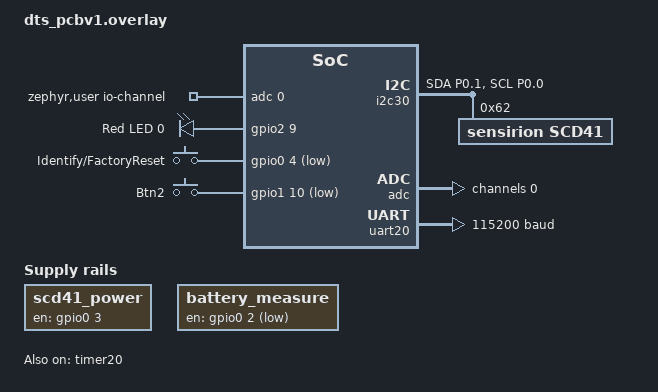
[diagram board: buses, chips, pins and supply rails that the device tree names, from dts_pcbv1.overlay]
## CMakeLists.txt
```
# SPDX-License-Identifier: Apache-2.0

cmake_minimum_required(VERSION 3.20.0)

# set(EXTRA_DTC_OVERLAY_FILE "dts.overlay")
set(EXTRA_DTC_OVERLAY_FILE "dts_pcbv1.overlay")
find_package(Zephyr REQUIRED HINTS $ENV{ZEPHYR_BASE})
project(co2_nrf54l15_2aa)

target_sources(app PRIVATE 
        src/main.cpp
        src/led.cpp
        submodules/esp_generic_lib/src/lib_linked_list.cpp
)

add_subdirectory(submodules/nrf_zb_cpp)
add_subdirectory(submodules/nrf_general)

target_link_libraries(app PUBLIC NrfLibGeneral)
target_link_libraries(app PUBLIC NrfZBCpp)

target_include_directories(app PRIVATE include)
target_include_directories(app PRIVATE submodules/esp_generic_lib/include)

if (${ZEPHYR_TOOLCHAIN_VARIANT} STREQUAL  "llvm")
        target_compile_options(app PRIVATE -fmacro-backtrace-limit=0)
        target_compile_options(app PUBLIC -D__cpp_concepts=202002L -Wno-builtin-macro-redefined -Wno-invalid-offsetof)
endif()
```

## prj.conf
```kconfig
CONFIG_HEAP_MEM_POOL_SIZE=2048
CONFIG_SYSTEM_WORKQUEUE_STACK_SIZE=2048
CONFIG_MAIN_THREAD_PRIORITY=7
CONFIG_DEBUG_THREAD_INFO=y

CONFIG_GPIO=y
CONFIG_ADC=y
CONFIG_REGULATOR=y

CONFIG_REBOOT=y
CONFIG_RAM_POWER_DOWN_LIBRARY=y
CONFIG_PM_DEVICE=y
CONFIG_SETTINGS=y
CONFIG_SETTINGS_NVS=y
CONFIG_NVS=y

# CONFIG_FLASH=y
# CONFIG_FLASH_MAP=y
# CONFIG_MPU_ALLOW_FLASH_WRITE=y

# CONFIG_REGULATOR=y

CONFIG_SENSOR=y
CONFIG_SENSOR_ASYNC_API=y
CONFIG_SCD4X=y
```

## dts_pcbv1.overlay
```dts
/ {
	chosen {
		ncs,zigbee-timer = &timer20;
		/* zephyr,console = &uart20; */
	};

	zephyr,user {
		io-channels = <&adc 0>;
	};

	leds {
		compatible = "gpio-leds";
		led0: led_0 {
			gpios = <&gpio2 9 GPIO_ACTIVE_HIGH>;
			label = "Red LED 0";
		};
	};

	buttons {
		compatible = "gpio-keys";
		button0: button_0 {
			gpios = <&gpio0 4 (GPIO_PULL_UP | GPIO_ACTIVE_LOW)>;
			label = "Identify/FactoryReset";
			zephyr,code = <INPUT_KEY_0>;
		};
		button1: button_1 {
			gpios = <&gpio1 10 (GPIO_PULL_UP | GPIO_ACTIVE_LOW)>;
			label = "Btn2";
			zephyr,code = <INPUT_KEY_1>;
		};
	};

	aliases {
		led0 = &led0;
	};

	/* Define the GPIO-controlled regulator */
	scd41_power: scd41-power-regulator {
		compatible = "regulator-fixed"; // Standard binding for fixed regulators
		regulator-name = "scd41_power_reg";
		status = "okay";

		/* GPIO controlling the MOSFET gate */
		/* GPIO_ACTIVE_HIGH means the sensor is ON when GPIO is high */
		/* Use GPIO_ACTIVE_LOW if your MOSFET logic is inverted */
		enable-gpios = <&gpio0 3 GPIO_ACTIVE_HIGH>;

		/* Optional: Define the voltage being regulated */
		// regulator-min-microvolt = ; // e.g., 3.3V
		// regulator-max-microvolt = ; // e.g., 3.3V

		/* Optional: Delay after enabling GPIO before regulator is considered stable */
		startup-delay-us = <1100000>; // 1us, adjust based on MOSFET and sensor VCC rise time

		/* Optional: Specify that this regulator should be off initially */
		//regulator-boot-on; // Remove or comment out if you want it initially OFF
	};

	/* Define the GPIO-controlled regulator */
	battery_measure: battery-measure-regulator {
		compatible = "regulator-fixed"; // Standard binding for fixed regulators
		regulator-name = "battery_measure_reg";
		status = "okay";

		/* GPIO controlling the MOSFET gate */
		/* GPIO_ACTIVE_HIGH means the sensor is ON when GPIO is high */
		/* Use GPIO_ACTIVE_LOW if your MOSFET logic is inverted */
		enable-gpios = <&gpio0 2 GPIO_ACTIVE_LOW>;

		/* Optional: Define the voltage being regulated */
		// regulator-min-microvolt = ; // e.g., 3.3V
		// regulator-max-microvolt = ; // e.g., 3.3V

		/* Optional: Delay after enabling GPIO before regulator is considered stable */
		startup-delay-us = <1>; // 1us, adjust based on MOSFET and sensor VCC rise time

		/* Optional: Specify that this regulator should be off initially */
		// regulator-boot-on; // Remove or comment out if you want it initially OFF
	};
};

// restore full RRAM and SRAM space - by default some parts are dedicated to FLRP
//&cpuapp_rram {
//	reg = <0x0 DT_SIZE_K(1524)>;
//};
//
//&cpuapp_sram {
//	reg = <0x20000000 DT_SIZE_K(256)>;
//	ranges = <0x0 0x20000000  0x40000>;
//};

&pinctrl {
	i2c30_default_alt: i2c30_default_alt {
		group1 {
			psels = <NRF_PSEL(TWIM_SDA, 0, 1)>,
				<NRF_PSEL(TWIM_SCL, 0, 0)>;
		};
	};
	i2c30_sleep_alt: i2c30_sleep_alt {
		group1 {
			psels = <NRF_PSEL(TWIM_SDA, 0, 1)>,
				<NRF_PSEL(TWIM_SCL, 0, 0)>;
				low-power-enable;
		};
	};
/omit-if-no-ref/ uart20_default: uart20_default {
	//forgot extra UART pin to route. re-suing btn2 for this
	group1 {
		psels = <NRF_PSEL(UART_TX, 1, 10)>;
	};
};

/omit-if-no-ref/ uart20_sleep: uart20_sleep {
	group1 {
		psels = <NRF_PSEL(UART_TX, 1, 10)>;
		low-power-enable;
	};
};
};


&i2c30 {
	status = "okay";
	pinctrl-0 = <&i2c30_default_alt>;
	pinctrl-1 = <&i2c30_sleep_alt>;
	pinctrl-names = "default", "sleep";

	co2sensor: scd41@62{
		compatible="sensirion,scd41";
		reg = <0x62>;
		label = "SCD41";
		/* mode 2 = single shot */
		/* mode 1 = low power */
		/* mode 0 = normal */
		mode = < 2 >;
		status = "okay";
		zephyr,deferred-init;
	};
};

&adc {
	status = "okay";
	#address-cells = <1>;
	#size-cells = <0>;

	channel@0 {
		reg = <0>;
		zephyr,gain = "ADC_GAIN_1_4";
		zephyr,reference = "ADC_REF_INTERNAL";
		zephyr,acquisition-time = <ADC_ACQ_TIME_DEFAULT>;
		zephyr,input-positive = <NRF_SAADC_AIN3>; /* P1.07 */
		zephyr,resolution = <12>;
	};
};

&timer20 {
	status = "okay";
};

&uart20 {
	status = "okay";
	current-speed = <115200>;
};
&gpio2 {
	status = "okay";
};
```

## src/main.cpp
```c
/*
 * Copyright (c) 2023, Meta
 *
 * SPDX-License-Identifier: Apache-2.0
 */


#include <cmath>
#include <zephyr/kernel.h>
#include <zephyr/drivers/gpio.h>
#include <zephyr/drivers/uart.h>
#include <zephyr/drivers/sensor.h>
#include <zephyr/settings/settings.h>
#include <zephyr/drivers/adc.h>
#include <zephyr/drivers/regulator.h>
#include <zephyr/drivers/sensor/scd4x.h>

#include <ram_pwrdn.h>

//#define ALARM_LIST_LOCK_TYPE thread::DummyLock
#include <nrfzbcpp/zb_main.hpp>
#include <nrfzbcpp/zb_std_cluster_desc.hpp>

#include <nrfzbcpp/zb_power_config_tools.hpp>
#include <nrfzbcpp/zb_poll_ctrl_tools.hpp>

#include <nrfzbcpp/zb_status_cluster_desc.hpp>
#include <nrfzbcpp/zb_co2_cluster_desc.hpp>
#include <nrfzbcpp/zb_temp_cluster_desc.hpp>
#include <nrfzbcpp/zb_humid_cluster_desc.hpp>

#include <nrfzbcpp/zb_alarm.hpp>
#include <nrfzbcpp/zb_settings.hpp>

#include "zb/zb_scd4x_cluster_desc.hpp"

#include <nrf_general/lib_msgq_typed.hpp>

#include <dk_buttons_and_leds.h>
#include "led.h"

//allows using _min_to_qs and similar stuff
using namespace zb::literals;

/**********************************************************************/
/* Configuration constants                                            */
/**********************************************************************/
constexpr bool kPowerSaving = true;//if this is change the MCU must be erased since that option persists otherwise
constexpr uint32_t kFactoryResetWaitMS = 5000;//5s if the dev doesn't join before that
constexpr int8_t kRestartCountToFactoryReset = 3;
constexpr uint32_t kRestartCounterResetTimeoutMS = 15000;//after 15s the restart counter is reset back to 3
constexpr uint32_t kKeepAliveTimeout = 1000*60*30;//30min
constexpr zb_time_t kWakeUpDurationMS = 8 * 1000;

constexpr auto kInitialCheckInInterval = 30_min_to_qs;
constexpr auto kInitialLongPollInterval = 60_min_to_qs;//this has to be big in order for the device not to perform permanent parent requests

/**********************************************************************/
/* Zigbee Declarations and Definitions                                */
/**********************************************************************/
static bool g_ZigbeeReady = false;

/* Manufacturer name (32 bytes). */
#define INIT_BASIC_MANUF_NAME      "SFINAE"

/* Model number assigned by manufacturer (32-bytes long string). */
#define INIT_BASIC_MODEL_ID        "CO2-NG"


/* Button used to enter the Bulb into the Identify mode. */
#define IDENTIFY_MODE_BUTTON            DK_BTN1_MSK

/* Button to start Factory Reset */
#define FACTORY_RESET_BUTTON IDENTIFY_MODE_BUTTON

#define WAKE_UP_BUTTON            DK_BTN2_MSK

/* Device endpoint, used to receive light controlling commands. */
constexpr uint8_t kCO2_EP = 1;
constexpr uint16_t kDEV_ID = 0xFEED;

/* Main application customizable context.
 * Stores all settings and static values.
 */
struct device_ctx_t{
    zb::zb_zcl_basic_names_t basic_attr;
    zb::zb_zcl_power_cfg_battery_info_t battery_attr;
    zb::zb_zcl_poll_ctrl_basic_t poll_ctrl;
    zb::zb_zcl_status_t status_attr;
    zb::zb_zcl_co2_basic_t co2_attr;
    zb::zb_zcl_temp_basic_t temp_attr;
    zb::zb_zcl_rel_humid_basic_t humid_attr;
    zb::zb_zcl_scd4x_t scd4x;
};

//attribute shortcuts for template arguments
constexpr auto kAttrStatus1 = &zb::zb_zcl_status_t::status1;
constexpr auto kAttrStatus2 = &zb::zb_zcl_status_t::status2;
constexpr auto kAttrStatus3 = &zb::zb_zcl_status_t::status3;
constexpr auto kAttrCO2Value = &zb::zb_zcl_co2_basic_t::measured_value;
constexpr auto kAttrTempValue = &zb::zb_zcl_temp_basic_t::measured_value;
constexpr auto kAttrRelHValue = &zb::zb_zcl_rel_humid_basic_t::measured_value;

constexpr auto kAttrManMeasure = &zb::zb_zcl_scd4x_t::manual_measurements;
constexpr auto kAttrFactoryResets = &zb::zb_zcl_scd4x_t::factory_resets;
constexpr auto kAttrSensorVariant = &zb::zb_zcl_scd4x_t::sensor_variant;

constexpr int kSleepSendStatusBit1 = 0;
constexpr int kSleepSendStatusCodeOffset = 1;
constexpr int kFlipSendStatusBit1 = 5;
constexpr int kFlipSendStatusCodeOffset = 6;
constexpr int kWakeUpSendStatusBit1 = 10;
constexpr int kWakeUpSendStatusCodeOffset = 11;

constexpr int kStatusCodeSize = 4;

zb::CmdHandlingResult on_scd4x_factory_reset();

/* Zigbee device application context storage. */
static constinit device_ctx_t dev_ctx{
    .basic_attr = {
	{
	    .zcl_version = ZB_ZCL_VERSION,
	    .power_source = zb::zb_zcl_basic_min_t::PowerSource::Battery
	},
	/*.manufacturer =*/ INIT_BASIC_MANUF_NAME,
	/*.model =*/ INIT_BASIC_MODEL_ID,
    },
	.poll_ctrl = {
	    .check_in_interval = kInitialCheckInInterval,
	    .long_poll_interval = kInitialLongPollInterval,
	    //.short_poll_interval = 1_sec_to_qs,
	},
    .co2_attr{
	.measured_value = 0
    },
    .scd4x{
	.cmd_on_factory_reset = {.cb = on_scd4x_factory_reset}
    }
};

constinit static auto zb_ctx = zb::make_device(
	zb::make_ep_args<{.ep=kCO2_EP, .dev_id=kDEV_ID, .dev_ver=1}>(
	    dev_ctx.basic_attr
	    , dev_ctx.battery_attr
	    , dev_ctx.poll_ctrl
	    , dev_ctx.status_attr
	    , dev_ctx.co2_attr
	    , dev_ctx.temp_attr
	    , dev_ctx.humid_attr
	    , dev_ctx.scd4x
	    )
	);

/**********************************************************************/
/* Defining access to the global zigbee device context                */
/**********************************************************************/
//needed for proper command handling
struct zb::global_device
{
    static auto& get() { return zb_ctx; }
};

//a shortcut for a convenient access
constinit static auto &zb_ep = zb_ctx.ep<kCO2_EP>();

/**********************************************************************/
/* ZephyrOS devices                                                   */
/**********************************************************************/

/* The devicetree node identifier for the "led0" alias. */
#define LED0_NODE DT_ALIAS(led0)
static const struct device *const co2sensor = DEVICE_DT_GET(DT_NODELABEL(co2sensor));
static const struct gpio_dt_spec led_dt = GPIO_DT_SPEC_GET(LED0_NODE, gpios);
constinit const struct device *co2_power = DEVICE_DT_GET(DT_NODELABEL(scd41_power));
constexpr const struct device *bat_measure = DEVICE_DT_GET(DT_NODELABEL(battery_measure));


/**********************************************************************/
/* Battery management                                                 */
/**********************************************************************/
#define DT_SPEC_AND_COMMA(node_id, prop, idx) \
	ADC_DT_SPEC_GET_BY_IDX(node_id, idx),

static const struct adc_dt_spec adc_channels[] = {
	DT_FOREACH_PROP_ELEM(DT_PATH(zephyr_user), io_channels,
			     DT_SPEC_AND_COMMA)
};

static constinit auto g_Battery = zb::make_battery_measurements_block<{
    .maxBatteryVoltage = 3600,//mV
    .minBatteryVoltage = 900//mV
}>(zb_ep, adc_channels, bat_measure);
constexpr zb_callback_t update_battery_state_zb = &decltype(g_Battery)::update_zb_callback;


/**********************************************************************/
/* End of battery management                                          */
/**********************************************************************/

/**********************************************************************/
/* Message Queue definitions + commands                               */
/**********************************************************************/
enum class CO2Commands
{
    Initial
    , Fetch
    , ManualFetch
    , FactoryReset
};

using CO2Q = msgq::Queue<CO2Commands,4>;
K_MSGQ_DEFINE_TYPED(CO2Q, co2v2);

/**********************************************************************/
/* CO2 measuring thread                                               */
/**********************************************************************/
void co2_thread_entry(void *, void *, void *);
void update_co2_readings_in_zigbee(uint8_t id);

constexpr size_t CO2_THREAD_STACK_SIZE = 512;
constexpr size_t CO2_THREAD_PRIORITY=7;

K_THREAD_DEFINE(co2_thread, CO2_THREAD_STACK_SIZE,
	co2_thread_entry, NULL, NULL, NULL,
	CO2_THREAD_PRIORITY, 0, -1);


bool update_measurements()
{
    bool needsPowerCycle = true;
    bool res = false;
    //if ((needsPowerCycle = !regulator_is_enabled(co2_power)))
    {
	regulator_enable(co2_power);
	device_init(co2sensor);
    }
    if (device_is_ready(co2sensor)) {
	if (!dev_ctx.scd4x.sensor_variant)
	    scd4x_get_variant(co2sensor, &dev_ctx.scd4x.sensor_variant, false);

	int err = sensor_sample_fetch(co2sensor);

	if (err == 0)
	{
	    if (needsPowerCycle) //after power up 2 fetches are needed
		sensor_sample_fetch(co2sensor);
	}

	res = true;
    }

    //if (zb::qs_to_s(dev_ctx.poll_ctrl.check_in_interval) >= kPowerCycleThresholdSeconds)//seconds
    {
	//check in interval is big enough to power down
	regulator_disable(co2_power);
    }
    return res;
}

static constinit bool g_CO2ErrorState = false;
void co2_thread_entry(void *, void *, void *)
{
    CO2Commands cmd;
    bool needsPowerCycle = false;
    static uint32_t g_last_mark = 0; 
    while(1)
    {
	co2v2 >> cmd;
	switch(cmd)
	{
	    using enum CO2Commands;
	    case FactoryReset:
	    {
		zb::RegRAII co2Reg(co2_power);
		device_init(co2sensor);
		if (device_is_ready(co2sensor)) {
		    scd4x_factory_reset(co2sensor);
		    led::show_pattern(led::kPATTERN_2_BLIPS_NORMED, 2000);
		}
	    }
	    break;
	    case Initial:
	    {
		g_CO2ErrorState = !update_measurements();
		zigbee_enable();
	    }
	    break;
	    case Fetch:
	    {
		auto now = k_uptime_seconds();
		if (g_last_mark && ((now - g_last_mark) < (zb::qs_to_s(dev_ctx.poll_ctrl.check_in_interval) / 2)))
		{
		    //to often
		    continue;
		}
		g_last_mark = now;
	    }
	    [[fallthrough]];
	    case ManualFetch:
	    g_CO2ErrorState = !update_measurements();
	    //post to zigbee thread
	    zigbee_schedule_callback(update_co2_readings_in_zigbee, 0);
	    break;
	}
    }
}

void update_co2_readings_in_zigbee(uint8_t id)
{
    g_Battery.update();
    if (co2sensor && !g_CO2ErrorState)
    {
	sensor_value v;
	sensor_channel_get(co2sensor, SENSOR_CHAN_CO2, &v);
	zb_ep.attr<kAttrCO2Value>() = float(v.val1) / 1'000'000.f;
	sensor_channel_get(co2sensor, SENSOR_CHAN_AMBIENT_TEMP, &v);
	zb_ep.attr<kAttrTempValue>() = zb::zb_zcl_temp_t::FromC(float(v.val1) + float(v.val2) / 1000'000.f);
	sensor_channel_get(co2sensor, SENSOR_CHAN_HUMIDITY, &v);
	zb_ep.attr<kAttrRelHValue>() = zb::zb_zcl_rel_humid_t::FromRelH(float(v.val1) + float(v.val2) / 1000'000.f);

	zb_ep.attr<kAttrStatus1>() = 0;
	zb_ep.attr<kAttrStatus2>() = 0;
    }else
    {
	if (g_CO2ErrorState) zb_ep.attr<kAttrStatus1>() = -1;
	if (!co2sensor) zb_ep.attr<kAttrStatus2>() = -1;
    }
}

zb::CmdHandlingResult on_scd4x_factory_reset()
{
    zb_ep.attr<kAttrFactoryResets>() = dev_ctx.scd4x.factory_resets + 1;
    co2v2 << CO2Commands::FactoryReset;
    co2v2 << CO2Commands::ManualFetch;
    return {};
}


/**********************************************************************/
/* General Zigbee stuff                                               */
/**********************************************************************/

void on_zigbee_start()
{
    printk("on_zigbee_start\r\n");
    g_ZigbeeReady = true;

    configure_poll_control<{
	.ep = kCO2_EP, 
	.callback_on_check_in = [](uint8_t){co2v2 << CO2Commands::Fetch;}, 
	.sleepy_end_device = kPowerSaving
    }>(dev_ctx.poll_ctrl);
    update_co2_readings_in_zigbee(0);
}

/**@brief Zigbee stack event handler.
 *
 * @param[in]   bufid   Reference to the Zigbee stack buffer
 *                      used to pass signal.
 */
void zboss_signal_handler(zb_bufid_t bufid)
{
        zb_zdo_app_signal_hdr_t *pHdr;
        auto signalId = zb_get_app_signal(bufid, &pHdr);

	auto ret = zb::tpl_signal_handler<zb::sig_handlers_t{
	.on_leave = +[]{ 
	    zb_zcl_poll_control_stop(); 
	    k_sleep(K_MSEC(2100));
	    sys_reboot(SYS_REBOOT_COLD);
	},
	    .on_error = []{ led::show_pattern(led::kPATTERN_3_BLIPS_NORMED, 1000); },
	    .on_dev_reboot = on_zigbee_start,
	    .on_steering = on_zigbee_start,
	    .on_can_sleep = &zb_sleep_now
	   }>(bufid);
    const uint32_t LOCAL_ERR_CODE = (uint32_t) (-ret);	
    if (LOCAL_ERR_CODE != RET_OK) {				
	zb_osif_abort();				
    }							
}

void on_dev_cb_error(int err)
{
    printk("on_dev_cb_error: %d\r\n", err);
}

/**********************************************************************/
/* Factory Reset Handling                                             */
/**********************************************************************/
zb::ZbTimerExt g_FactoryResetDoneChecker;
/**@brief Callback for button events.
 *
 * @param[in]   button_state  Bitmask containing the state of the buttons.
 * @param[in]   has_changed   Bitmask containing buttons that have changed their state.
 */
static void button_changed(uint32_t button_state, uint32_t has_changed)
{
    if (FACTORY_RESET_BUTTON & has_changed) {
	if (FACTORY_RESET_BUTTON & button_state) {
	    /* Button changed its state to pressed */
	    g_FactoryResetDoneChecker.Setup([]{
		    if (was_factory_reset_done()) {
			/* The long press was for Factory Reset */
			led::show_pattern(led::kPATTERN_2_BLIPS_NORMED, 2000);
			return false;
		    }
		    return true;
	    }, 1000);
	} else {
	    /* Button changed its state to released */
	    if (!was_factory_reset_done()) {
		/* Button released before Factory Reset */
		g_FactoryResetDoneChecker.Cancel();
		led::show_pattern(led::kPATTERN_2_BLIPS_NORMED, 500);
	    }
	}
	check_factory_reset_button(button_state, has_changed);
    }else if (WAKE_UP_BUTTON & has_changed)
    {
	if (!(WAKE_UP_BUTTON & button_state))
	{
	    //released
	    zb_zdo_pim_start_turbo_poll_continuous(kWakeUpDurationMS);
	    co2v2 << CO2Commands::ManualFetch;
	    led::show_pattern(led::kPATTERN_4_BLIPS_NORMED, 1000);
	    zb_ep.attr<kAttrManMeasure>() = dev_ctx.scd4x.manual_measurements + 1;
	}
    }
}

/**********************************************************************/
/* End Of Factory Reset Handling                                      */
/**********************************************************************/

int main(void)
{
    int ret;
    bool led_state = true;
    //k_msleep(5000);

    printk("Main start\r\n");
    //regulator_enable(co2_power);
    //printk("Co2 power enabled\r\n");
    //k_msleep(5000);
    //device_init(co2sensor);
	//   if (device_is_ready(co2sensor)) {
	//uint16_t var = -1;
	//ret = scd4x_get_variant(co2sensor, &var, false);
	//if (ret < 0)
	//{
	//    printk("get variant failed with %d\r\n", ret);
	//}else
	//{
	//    printk("get variant: %d\r\n", var);
	//}
	//printk("co2 sampling...\r\n");
	//sensor_sample_fetch(co2sensor);
	//sensor_value v;
	//sensor_channel_get(co2sensor, SENSOR_CHAN_CO2, &v);
	//printk("CO2: %d %d\r\n", v.val1, v.val2);
	//   }else
	//   {
	//printk("co2 init failed\r\n");
	//   }
	//   if (device_is_ready(eco2sensor)) {
	//sensor_sample_fetch(eco2sensor);
	//sensor_value v;
	//sensor_channel_get(eco2sensor, SENSOR_CHAN_CO2, &v);
	//printk("eCO2: %d %d\r\n", v.val1, v.val2);
	//sensor_channel_get(eco2sensor, SENSOR_CHAN_VOC, &v);
	//printk("VOC: %d %d\r\n", v.val1, v.val2);
	//   }else
	//   {
	//printk("eco2 init failed\r\n");
	//   }
	//   return 0;


    if (led::setup() < 0)
	return 0;
    led::start();

    if (!device_is_ready(co2_power)) {
    	//printk("Power reg not ready");
    	return 0;
    }

    printk("Main: before configuring ADC\r\n");
    if (g_Battery.setup() < 0)
	return 0;

    printk("Main: before settings init\r\n");
    int err = settings_subsys_init();
    err = settings_load();
    printk("Main: before zigbee erase persistent storage\r\n");

    //configure button handler
    err = dk_buttons_init(button_changed);
    //assign a button for a factory reset procedure
    register_factory_reset_button(FACTORY_RESET_BUTTON);

    zigbee_erase_persistent_storage(false);
    zb_set_ed_timeout(ED_AGING_TIMEOUT_64MIN);
    zb_set_keepalive_timeout(ZB_MILLISECONDS_TO_BEACON_INTERVAL(kKeepAliveTimeout));

    if constexpr (kPowerSaving)
    {
	zigbee_configure_sleepy_behavior(true);
	power_down_unused_ram();
    }

    /* Register callback for handling ZCL commands. */
    auto dev_cb = zb::tpl_device_cb<
	zb::dev_cb_handlers_desc{ .error_handler = on_dev_cb_error }
    >;
    ZB_ZCL_REGISTER_DEVICE_CB(dev_cb);

    /* Register dimmer switch device context (endpoints). */
    ZB_AF_REGISTER_DEVICE_CTX(zb_ctx);

    printk("Main: before zigbee enable\r\n");
    k_thread_start(co2_thread);
    co2v2 << CO2Commands::Initial;

    //zigbee_enable();
    printk("Main: sleep forever\r\n");
    while (1) {
	k_sleep(K_FOREVER);
    }
    return 0;
}
```

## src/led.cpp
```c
#include "led.h"
#include <cstddef>
#include <zephyr/kernel.h>
#include <dk_buttons_and_leds.h>
#include "nrf_general/lib_msgq_typed.hpp"

#define STATUS_LED        DK_LED1

namespace led
{
    struct msg
    {
	uint32_t p;
	uint32_t tms;//millis
    };
    using LedQ = msgq::Queue<msg,4>;
    K_MSGQ_DEFINE_TYPED(LedQ, led_msgq);

    void led_thread_entry(void *, void *, void *);

    constexpr size_t LED_THREAD_STACK_SIZE = 512;
    constexpr size_t LED_THREAD_PRIORITY=7;

    K_THREAD_DEFINE(led_thread, LED_THREAD_STACK_SIZE,
	    led_thread_entry, NULL, NULL, NULL,
	    LED_THREAD_PRIORITY, 0, -1);

    void led_thread_entry(void *, void *, void *)
    {
	msg pattern;
	while(1)
	{
	    led_msgq >> pattern;
	    size_t bitDuration = pattern.tms / 32;
	    for(int i = 0; i < 32; ++i)
	    {
		bool state = pattern.p & 1;
		dk_set_led(STATUS_LED, state);
		size_t dur = 0;
		while((pattern.p & 1) == state && i < 32)
		{
		    dur += bitDuration;
		    pattern.p >>= 1;
		    ++i;
		}
		--i;
		k_sleep(K_MSEC(dur));
	    }
	}
    }

    int setup()
    {
	int err = dk_leds_init();
	if (err) {
	    //LOG_ERR("Cannot init LEDs (err: %d)", err);
	    return err;
	}
	return 0;
    }

    void start()
    {
	k_thread_start(led_thread);
    }

    void show_pattern(uint32_t p, uint32_t tms)
    {
	led_msgq << msg{p, tms};
    }
}
```
